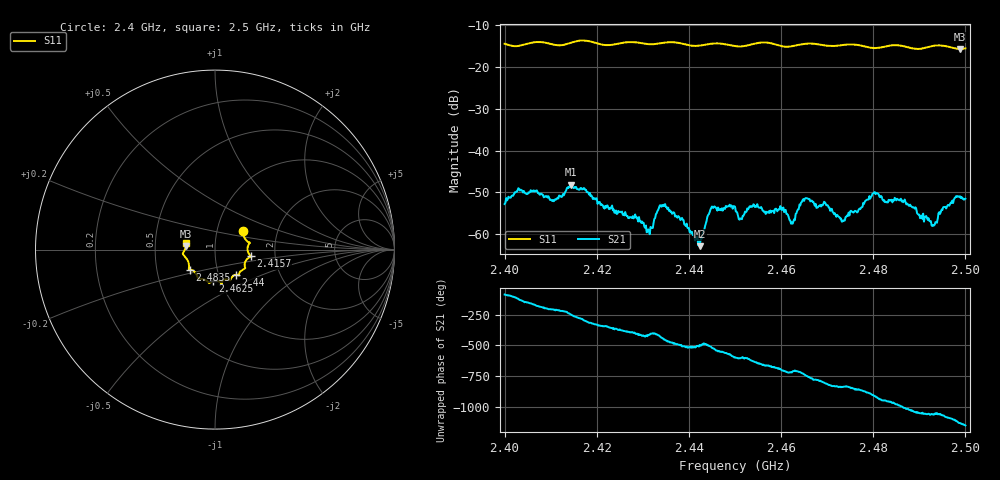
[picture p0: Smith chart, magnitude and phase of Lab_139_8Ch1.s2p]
# Hz S RI R 50
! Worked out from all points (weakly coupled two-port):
!   601 points, 2.4 GHz to 2.5 GHz, reference 50 ohm
!   highest |S21| = -48.15 dB at 2.4143 GHz (marker M1); lowest = -62.9 dB at 2.4423 GHz (marker M2)
!   lowest |S11| = -15.7 dB at 2.4988 GHz (marker M3), VSWR 1.39, Z = 36 + j1.39 ohm
!   |S11| at or under -10 dB: start of sweep to end of sweep
!   S12 and S22 are empty: the file has one direction only
!   S11 on the Smith chart (normalised r, x): 2.4 GHz: 1.34, +0.29; 2.4157 GHz: 1.49, -0.12; 2.44 GHz: 1.21, -0.35; 2.4625 GHz: 0.92, -0.34; 2.4835 GHz: 0.74, -0.17; 2.5 GHz: 0.72, +0.06
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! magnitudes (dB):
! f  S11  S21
! 2.4 GHz  -14.5  -52.8
! 2.4107 GHz  -14.7  -52.1
! 2.4143 GHz  -14.2  -48.1
! 2.4157 GHz  -13.8  -49.2
! 2.4167 GHz  -13.7  -49.0
! 2.431 GHz  -14.5  -59.4
! 2.4333 GHz  -14.4  -54.2
! 2.44 GHz  -14.8  -58.5
! 2.4423 GHz  -14.9  -62.9
! 2.4452 GHz  -14.4  -53.7
! 2.45 GHz  -15.0  -53.4
! 2.46 GHz  -15.0  -53.7
! 2.4625 GHz  -15.0  -57.5
! 2.4648 GHz  -14.5  -51.6
! 2.4667 GHz  -14.4  -52.0
! 2.4733 GHz  -14.8  -57.0
! 2.4803 GHz  -15.5  -49.9
! 2.4833 GHz  -15.0  -51.8
! 2.4835 GHz  -14.9  -52.0
! 2.4932 GHz  -15.0  -57.9
! 2.4988 GHz  -15.7  -50.9
! 2.5 GHz  -15.6  -51.5
